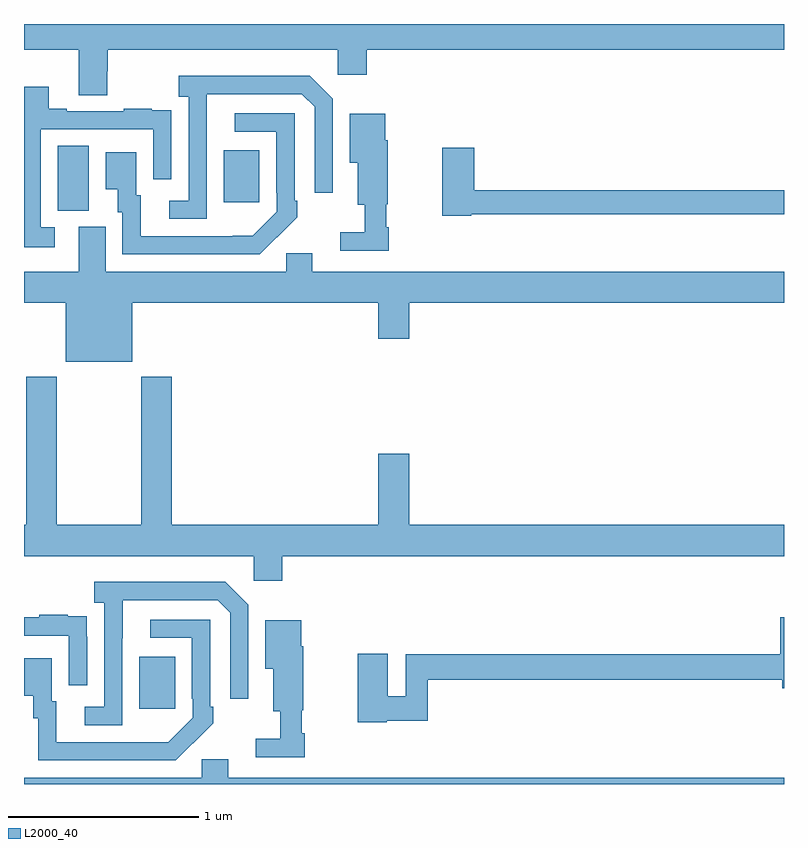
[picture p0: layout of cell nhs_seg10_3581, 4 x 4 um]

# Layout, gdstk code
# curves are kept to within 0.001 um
import gdstk
lib = gdstk.Library(unit=1e-6, precision=1e-09)
def R(c, l, rs):  # rectangles x0, y0, x1, y1
    for r in rs: c.add(gdstk.rectangle(r[:2], r[2:], *l))
def P(c, l, *ps):  # polygons
    for p in ps: c.add(gdstk.Polygon(p, *l))
L2000_40 = (2000, 40)

nhs_seg10_3581 = lib.new_cell('nhs_seg10_3581')
R(nhs_seg10_3581, L2000_40, [(307.607,1248.897,307.795,1249.171), (307.178,1251.517,307.342,1251.86), (308.051,1251.561,308.239,1251.835)])
P(nhs_seg10_3581, L2000_40, [(307.437,1252.251),(307.442,1252.251),(307.442,1252.364),(308.652,1252.364),(308.652,1252.233),(308.804,1252.233),(308.804,1252.364),(311,1252.364),(311,1252.5),(307,1252.5),(307,1252.364),(307.289,1252.364),(307.289,1252.126),(307.437,1252.126)],
  [(307.962,1251.931),(307.963,1252.131),(308.463,1252.131),(308.529,1252.065),(308.529,1251.612),(308.625,1251.612),(308.625,1252.107),(308.504,1252.228),(307.815,1252.228),(307.815,1252.118),(307.866,1252.118),(307.866,1251.57),(307.764,1251.57),(307.764,1251.474),(307.962,1251.474)],
  [(307.162,1251.429),(307.089,1251.429),(307.089,1251.945),(307.68,1251.945),(307.68,1251.684),(307.776,1251.684),(307.776,1251.938),(307.775,1251.938),(307.775,1252.047),(307.673,1252.047),(307.673,1252.054),(307.525,1252.054),(307.525,1252.041),(307.225,1252.041),(307.225,1252.054),(307.129,1252.054),(307.129,1252.171),(307,1252.171),(307,1251.324),(307.162,1251.324)],
  [(308.333,1251.379),(308.334,1251.378),(308.439,1251.483),(308.439,1251.571),(308.424,1251.571),(308.424,1252.029),(308.109,1252.029),(308.109,1251.933),(308.328,1251.933),(308.328,1251.613),(308.331,1251.613),(308.331,1251.513),(308.203,1251.385),(307.615,1251.384),(307.615,1251.6),(307.591,1251.6),(307.591,1251.826),(307.43,1251.826),(307.43,1251.629),(307.493,1251.629),(307.493,1251.51),(307.518,1251.51),(307.518,1251.288),(308.242,1251.288)],
  [(308.921,1251.431),(308.906,1251.431),(308.906,1251.552),(308.914,1251.552),(308.914,1251.888),(308.902,1251.888),(308.902,1252.027),(308.714,1252.027),(308.714,1251.77),(308.756,1251.77),(308.756,1251.548),(308.793,1251.548),(308.793,1251.403),(308.664,1251.403),(308.664,1251.306),(308.921,1251.306)],
  [(309.354,1251.498),(311,1251.498),(311,1251.626),(309.371,1251.626),(309.371,1251.85),(309.2,1251.85),(309.2,1251.49),(309.354,1251.49)],
  [(307.57,1251.032),(308.864,1251.032),(308.864,1250.844),(309.028,1250.844),(309.028,1251.032),(311,1251.032),(311,1251.196),(308.518,1251.196),(308.518,1251.294),(308.379,1251.294),(308.379,1251.196),(307.429,1251.196),(307.429,1251.432),(307.289,1251.432),(307.289,1251.196),(307,1251.196),(307,1251.032),(307.22,1251.032),(307.22,1250.723),(307.57,1250.723)],
  [(308.36,1249.7),(311,1249.7),(311,1249.864),(309.028,1249.864),(309.028,1250.239),(308.864,1250.239),(308.864,1249.864),(307.778,1249.864),(307.778,1250.644),(307.618,1250.644),(307.618,1249.864),(307.173,1249.864),(307.173,1250.644),(307.013,1250.644),(307.013,1249.864),(307,1249.864),(307,1249.7),(308.208,1249.7),(308.208,1249.569),(308.36,1249.569)],
  [(307.518,1249.267),(307.519,1249.467),(308.019,1249.467),(308.085,1249.401),(308.085,1248.948),(308.181,1248.948),(308.181,1249.443),(308.06,1249.564),(307.371,1249.564),(307.371,1249.454),(307.422,1249.454),(307.422,1248.906),(307.32,1248.906),(307.32,1248.81),(307.518,1248.81)],
  [(307.332,1249.274),(307.331,1249.274),(307.331,1249.383),(307.229,1249.383),(307.229,1249.39),(307.081,1249.39),(307.081,1249.377),(307,1249.377),(307,1249.281),(307.236,1249.281),(307.236,1249.02),(307.332,1249.02)],
  [(308.91,1248.834),(309.125,1248.834),(309.125,1249.048),(310.991,1249.048),(310.991,1249.004),(311,1249.004),(311,1249.378),(310.979,1249.378),(310.979,1249.184),(309.009,1249.184),(309.009,1248.962),(308.914,1248.962),(308.914,1249.186),(308.756,1249.186),(308.756,1248.826),(308.91,1248.826)],
  [(307.889,1248.715),(307.89,1248.714),(307.995,1248.819),(307.995,1248.907),(307.98,1248.907),(307.98,1249.365),(307.665,1249.365),(307.665,1249.269),(307.884,1249.269),(307.884,1248.949),(307.887,1248.949),(307.887,1248.849),(307.759,1248.721),(307.171,1248.72),(307.171,1248.936),(307.147,1248.936),(307.147,1249.162),(307,1249.162),(307,1248.965),(307.049,1248.965),(307.049,1248.846),(307.074,1248.846),(307.074,1248.624),(307.798,1248.624)],
  [(308.477,1248.767),(308.462,1248.767),(308.462,1248.888),(308.47,1248.888),(308.47,1249.224),(308.458,1249.224),(308.458,1249.363),(308.27,1249.363),(308.27,1249.106),(308.312,1249.106),(308.312,1248.884),(308.349,1248.884),(308.349,1248.739),(308.22,1248.739),(308.22,1248.642),(308.477,1248.642)],
  [(311,1248.532),(308.074,1248.532),(308.074,1248.63),(307.935,1248.63),(307.935,1248.532),(307,1248.532),(307,1248.5),(311,1248.5)])

lib.write_gds('nhs_seg10_3581.gds')
